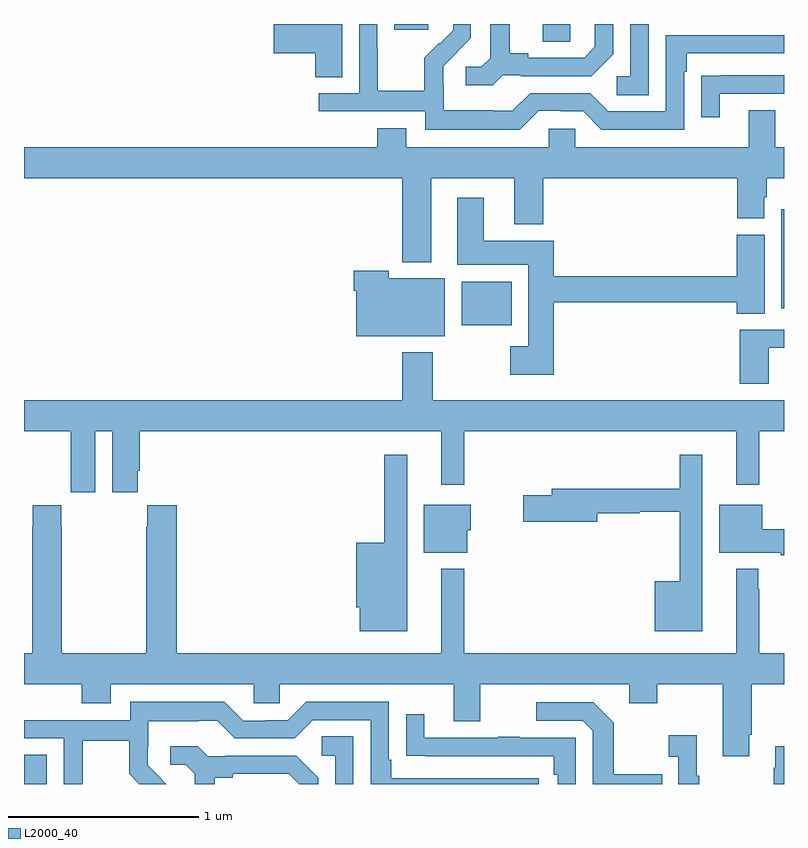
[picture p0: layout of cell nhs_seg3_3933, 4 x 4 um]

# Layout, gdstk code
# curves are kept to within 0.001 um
import gdstk
lib = gdstk.Library(unit=1e-6, precision=1e-09)
def R(c, l, rs):  # rectangles x0, y0, x1, y1
    for r in rs: c.add(gdstk.rectangle(r[:2], r[2:], *l))
def P(c, l, *ps):  # polygons
    for p in ps: c.add(gdstk.Polygon(p, *l))
L2000_40 = (2000, 40)

nhs_seg3_3933 = lib.new_cell('nhs_seg3_3933')
R(nhs_seg3_3933, L2000_40, [(315,692.4,315.121,692.555), (317.303,694.814,317.566,695.044), (318.986,694.904,319,695.425), (317.729,696.307,317.874,696.4), (316.949,696.369,317.128,696.4)])
P(nhs_seg3_3933, L2000_40, [(317.709,695.943),(317.825,695.943),(317.825,695.94),(317.943,695.94),(318.039,695.844),(318.474,695.844),(318.474,696.149),(318.487,696.149),(318.487,696.246),(319,696.246),(319,696.342),(318.378,696.342),(318.378,695.94),(318.075,695.94),(317.979,696.036),(317.664,696.036),(317.571,695.943),(317.471,695.943),(317.471,695.947),(317.208,695.947),(317.208,696.081),(317.206,696.081),(317.206,696.178),(317.352,696.326),(317.352,696.4),(317.258,696.4),(317.258,696.368),(317.187,696.297),(317.184,696.3),(317.107,696.223),(317.107,696.049),(316.863,696.049),(316.863,696.272),(316.86,696.272),(316.86,696.4),(316.764,696.4),(316.764,696.036),(316.551,696.036),(316.551,695.94),(317.112,695.94),(317.112,695.843),(317.609,695.843)],
  [(317.52,696.129),(317.614,696.129),(317.614,696.126),(317.986,696.126),(318.102,696.242),(318.102,696.4),(318.005,696.4),(318.005,696.279),(317.948,696.222),(317.653,696.222),(317.653,696.245),(317.557,696.245),(317.557,696.4),(317.453,696.4),(317.453,696.221),(317.406,696.174),(317.325,696.174),(317.325,696.077),(317.468,696.077)],
  [(316.675,696.4),(316.314,696.4),(316.314,696.245),(316.532,696.245),(316.532,696.121),(316.675,696.121)],
  [(318.288,696.4),(318.192,696.4),(318.192,696.126),(318.12,696.126),(318.12,696.025),(318.288,696.025)],
  [(318.661,696.033),(319,696.033),(319,696.129),(318.667,696.129),(318.667,696.128),(318.565,696.128),(318.565,695.91),(318.661,695.91)],
  [(317.143,695.588),(317.579,695.588),(317.579,695.345),(317.732,695.345),(317.732,695.588),(318.755,695.588),(318.755,695.377),(318.895,695.377),(318.895,695.487),(318.908,695.487),(318.908,695.588),(319,695.588),(319,695.752),(318.955,695.752),(318.955,695.947),(318.815,695.947),(318.815,695.752),(317.901,695.752),(317.901,695.85),(317.763,695.85),(317.763,695.752),(317.011,695.752),(317.011,695.851),(316.859,695.851),(316.859,695.752),(315,695.752),(315,695.588),(316.991,695.588),(316.991,695.147),(317.143,695.147)],
  [(317.789,694.936),(318.752,694.936),(318.752,694.876),(318.898,694.876),(318.898,695.292),(318.752,695.292),(318.752,695.072),(317.789,695.072),(317.789,695.26),(317.419,695.26),(317.419,695.485),(317.279,695.485),(317.279,695.132),(317.654,695.132),(317.654,694.705),(317.559,694.705),(317.559,694.553),(317.789,694.553)],
  [(317.215,695.062),(316.919,695.062),(316.919,695.101),(316.736,695.101),(316.736,694.997),(316.748,694.997),(316.748,694.757),(317.215,694.757)],
  [(318.919,694.695),(319,694.695),(319,694.791),(318.767,694.791),(318.767,694.506),(318.919,694.506)],
  [(315.376,694.256),(315.464,694.256),(315.464,693.936),(315.598,693.936),(315.598,694.048),(315.608,694.048),(315.608,694.256),(317.195,694.256),(317.195,693.975),(317.317,693.975),(317.317,694.256),(318.749,694.256),(318.749,693.975),(318.871,693.975),(318.871,694.256),(319,694.256),(319,694.42),(317.151,694.42),(317.151,694.672),(316.991,694.672),(316.991,694.42),(315,694.42),(315,694.256),(315.245,694.256),(315.245,694.048),(315.246,694.048),(315.246,693.936),(315.376,693.936)],
  [(318.571,694.132),(318.45,694.132),(318.45,693.955),(317.777,693.955),(317.777,693.921),(317.628,693.921),(317.628,693.779),(318.016,693.779),(318.016,693.826),(318.242,693.826),(318.242,693.834),(318.45,693.834),(318.45,693.466),(318.32,693.466),(318.32,693.203),(318.571,693.203)],
  [(317.017,694.132),(316.896,694.132),(316.896,693.67),(316.748,693.67),(316.748,693.33),(316.766,693.33),(316.766,693.203),(317.017,693.203)],
  [(319,693.74),(318.886,693.74),(318.886,693.871),(318.659,693.871),(318.659,693.617),(318.982,693.617),(318.982,693.604),(319,693.604)],
  [(317.332,693.735),(317.35,693.735),(317.35,693.871),(317.105,693.871),(317.105,693.617),(317.332,693.617)],
  [(318.817,692.659),(318.83,692.659),(318.83,692.924),(319,692.924),(319,693.088),(318.871,693.088),(318.871,693.425),(318.864,693.425),(318.864,693.532),(318.749,693.532),(318.749,693.088),(317.317,693.088),(317.317,693.532),(317.195,693.532),(317.195,693.088),(315.803,693.088),(315.803,693.868),(315.649,693.868),(315.649,693.755),(315.643,693.755),(315.643,693.088),(315.198,693.088),(315.198,693.755),(315.195,693.755),(315.195,693.868),(315.045,693.868),(315.045,693.755),(315.043,693.755),(315.043,693.088),(315,693.088),(315,692.924),(315.305,692.924),(315.305,692.825),(315.457,692.825),(315.457,692.924),(316.209,692.924),(316.209,692.826),(316.347,692.826),(316.347,692.924),(317.261,692.924),(317.261,692.73),(317.401,692.73),(317.401,692.924),(318.185,692.924),(318.185,692.825),(318.333,692.825),(318.333,692.924),(318.677,692.924),(318.677,692.547),(318.817,692.547)],
  [(315.306,692.404),(315.309,692.404),(315.309,692.628),(315.553,692.628),(315.553,692.453),(315.606,692.4),(315.748,692.4),(315.725,692.423),(315.726,692.424),(315.652,692.498),(315.652,692.595),(315.654,692.595),(315.654,692.729),(315.917,692.729),(315.917,692.733),(316.017,692.733),(316.11,692.64),(316.425,692.64),(316.521,692.736),(316.824,692.736),(316.824,692.4),(317.71,692.4),(317.71,692.43),(316.933,692.43),(316.933,692.527),(316.92,692.527),(316.92,692.832),(316.485,692.832),(316.389,692.736),(316.271,692.736),(316.271,692.733),(316.155,692.733),(316.055,692.833),(315.558,692.833),(315.558,692.736),(315,692.736),(315,692.64),(315.21,692.64),(315.21,692.4),(315.306,692.4)],
  [(318.359,692.451),(318.103,692.451),(318.103,692.723),(317.997,692.829),(317.697,692.829),(317.697,692.733),(317.94,692.733),(317.994,692.679),(317.994,692.4),(318.359,692.4)],
  [(317.904,692.643),(317.609,692.643),(317.609,692.648),(317.497,692.648),(317.497,692.643),(317.107,692.643),(317.107,692.767),(317.011,692.767),(317.011,692.548),(317.113,692.548),(317.113,692.547),(317.788,692.547),(317.788,692.45),(317.808,692.45),(317.808,692.4),(317.904,692.4)],
  [(318.553,692.443),(318.541,692.443),(318.541,692.656),(318.393,692.656),(318.393,692.543),(318.444,692.543),(318.444,692.4),(318.553,692.4)],
  [(316.734,692.651),(316.566,692.651),(316.566,692.55),(316.638,692.55),(316.638,692.4),(316.734,692.4)],
  [(319,692.599),(318.953,692.599),(318.953,692.486),(318.946,692.486),(318.946,692.4),(319,692.4)],
  [(316.003,692.432),(316.099,692.432),(316.099,692.454),(316.394,692.454),(316.448,692.4),(316.548,692.4),(316.548,692.434),(316.432,692.55),(316.06,692.55),(316.06,692.547),(315.966,692.547),(315.914,692.599),(315.771,692.599),(315.771,692.502),(315.852,692.502),(315.899,692.455),(315.899,692.4),(316.003,692.4)])

lib.write_gds('nhs_seg3_3933.gds')
